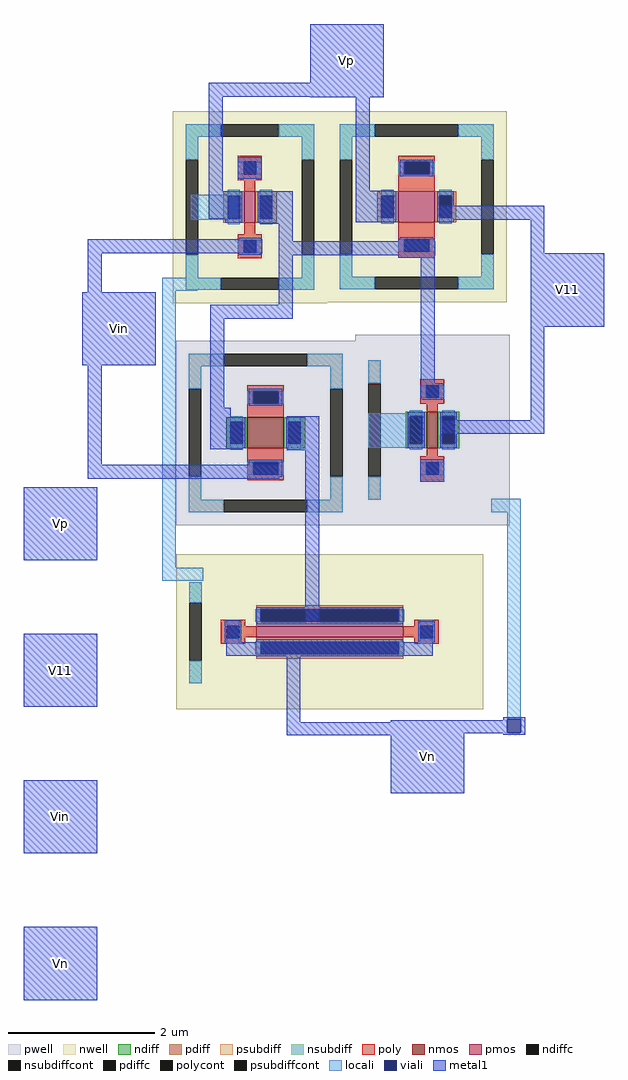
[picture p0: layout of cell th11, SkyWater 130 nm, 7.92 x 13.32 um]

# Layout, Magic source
magic
tech sky130A
magscale 1 2
<< locali >>
rect 456 930 592 998
rect 378 736 474 772
rect 378 -20 414 736
rect 940 308 1084 402
rect 1276 132 1356 168
rect 378 -56 490 -20
rect 1320 -434 1356 132
<< viali >>
rect 1320 -470 1356 -434
<< metal1 >>
rect 782 1304 982 1464
rect 505 1266 982 1304
rect 505 1007 543 1266
rect 782 1264 982 1266
rect 584 1042 650 1100
rect 906 1009 944 1264
rect 505 933 587 1007
rect 645 919 734 1007
rect 906 923 1009 1009
rect 1132 930 1421 968
rect 174 838 651 876
rect 696 871 734 919
rect 1022 871 1122 878
rect 174 732 212 838
rect 696 833 1123 871
rect 1383 838 1421 930
rect 160 532 360 732
rect 696 698 734 833
rect 1022 826 1122 833
rect 509 660 734 698
rect 174 261 212 532
rect 509 417 547 660
rect 1083 479 1121 826
rect 1383 638 1584 838
rect 1083 441 1147 479
rect 509 389 565 417
rect 509 303 597 389
rect 717 301 806 393
rect 1383 383 1421 638
rect 1143 345 1421 383
rect 174 223 697 261
rect 0 0 200 200
rect 0 -400 200 -200
rect 552 -224 588 -164
rect 768 -171 806 301
rect 1082 214 1148 276
rect 718 -224 754 -222
rect 1080 -224 1116 -166
rect 552 -260 1116 -224
rect 718 -442 754 -260
rect 1308 -434 1368 -428
rect 1308 -436 1320 -434
rect 1002 -442 1320 -436
rect 718 -470 1320 -442
rect 1356 -470 1368 -434
rect 718 -472 1368 -470
rect 718 -478 1202 -472
rect 1308 -476 1368 -472
rect 0 -800 200 -600
rect 1002 -636 1202 -478
rect 0 -1200 200 -1000
use sky130_fd_pr__pfet_01v8_XGAKDL  XM0
transform 0 -1 835 1 0 -195
box -211 -419 211 419
use sky130_fd_pr__nfet_01v8_ZFH27D  XM1
transform 1 0 660 0 1 348
box -246 -252 246 252
use sky130_fd_pr__pfet_01v8_E7ZT25  XM2
transform 1 0 617 0 1 964
box -211 -262 211 262
use sky130_fd_pr__pfet_01v8_JM8GTH  XM3
transform 1 0 1072 0 1 965
box -246 -261 246 261
use sky130_fd_pr__nfet_01v8_L9ESAD  XM4
transform 1 0 1115 0 1 356
box -211 -260 211 260
<< labels >>
flabel metal1 782 1264 982 1464 0 FreeSans 256 0 0 0 Vp
port 0 nsew
flabel metal1 1384 638 1584 838 0 FreeSans 256 0 0 0 V11
port 1 nsew
flabel metal1 160 532 360 732 0 FreeSans 256 0 0 0 Vin
port 2 nsew
flabel metal1 1002 -636 1202 -436 0 FreeSans 256 0 0 0 Vn
port 3 nsew
flabel metal1 0 0 200 200 0 FreeSans 256 0 0 0 Vp
flabel metal1 0 -400 200 -200 0 FreeSans 256 0 0 0 V11
flabel metal1 0 -800 200 -600 0 FreeSans 256 0 0 0 Vin
flabel metal1 0 -1200 200 -1000 0 FreeSans 256 0 0 0 Vn
<< end >>

# cell sky130_fd_pr__pfet_01v8_XGAKDL: kit device sky130_fd_pr__pfet_01v8, w 2.0 l 0.15 m 1 nf 1 diffcov 100 polycov 100 guard 1 glc 1 grc 1 gtc 1 gbc 1 tbcov 100 rlcov 100 topc 1 botc 1 poverlap 0 doverlap 1 lmin 0.15 wmin 0.42 compatible {sky130_fd_pr__pfet_01v8 sky130_fd_pr__pfet_01v8_lvt sky130_fd_pr__pfet_01v8_hvt sky130_fd_pr__pfet_g5v0d10v5} full_metal 1 viasrc 100 viadrn 100 viagate 100 viagb 0 viagr 0 viagl 0 viagt 0

# cell sky130_fd_pr__nfet_01v8_ZFH27D: kit device sky130_fd_pr__nfet_01v8, w 0.42 l 0.5 m 1 nf 1 diffcov 100 polycov 100 guard 1 glc 1 grc 1 gtc 1 gbc 1 tbcov 100 rlcov 100 topc 1 botc 1 poverlap 0 doverlap 1 lmin 0.15 wmin 0.42 compatible {sky130_fd_pr__nfet_01v8 sky130_fd_pr__nfet_01v8_lvt sky130_fd_bs_flash__special_sonosfet_star sky130_fd_pr__nfet_g5v0d10v5 sky130_fd_pr__nfet_05v0_nvt sky130_fd_pr__nfet_03v3_nvt} full_metal 1 viasrc 100 viadrn 100 viagate 100 viagb 0 viagr 0 viagl 0 viagt 0

# cell sky130_fd_pr__pfet_01v8_E7ZT25: kit device sky130_fd_pr__pfet_01v8, w 0.425 l 0.15 m 1 nf 1 diffcov 100 polycov 100 guard 1 glc 1 grc 1 gtc 1 gbc 1 tbcov 100 rlcov 100 topc 1 botc 1 poverlap 0 doverlap 1 lmin 0.15 wmin 0.42 compatible {sky130_fd_pr__pfet_01v8 sky130_fd_pr__pfet_01v8_lvt sky130_fd_pr__pfet_01v8_hvt sky130_fd_pr__pfet_g5v0d10v5} full_metal 1 viasrc 100 viadrn 100 viagate 100 viagb 0 viagr 0 viagl 0 viagt 0

# cell sky130_fd_pr__pfet_01v8_JM8GTH: kit device sky130_fd_pr__pfet_01v8, w 0.42 l 0.5 m 1 nf 1 diffcov 100 polycov 100 guard 1 glc 1 grc 1 gtc 1 gbc 1 tbcov 100 rlcov 100 topc 1 botc 1 poverlap 0 doverlap 1 lmin 0.15 wmin 0.42 compatible {sky130_fd_pr__pfet_01v8 sky130_fd_pr__pfet_01v8_lvt sky130_fd_pr__pfet_01v8_hvt sky130_fd_pr__pfet_g5v0d10v5} full_metal 1 viasrc 100 viadrn 100 viagate 100 viagb 0 viagr 0 viagl 0 viagt 0

# cell sky130_fd_pr__nfet_01v8_L9ESAD: kit device sky130_fd_pr__nfet_01v8, w 0.5 l 0.15 m 1 nf 1 diffcov 100 polycov 100 guard 1 glc 1 grc 1 gtc 1 gbc 1 tbcov 100 rlcov 100 topc 1 botc 1 poverlap 0 doverlap 1 lmin 0.15 wmin 0.42 compatible {sky130_fd_pr__nfet_01v8 sky130_fd_pr__nfet_01v8_lvt sky130_fd_bs_flash__special_sonosfet_star sky130_fd_pr__nfet_g5v0d10v5 sky130_fd_pr__nfet_05v0_nvt sky130_fd_pr__nfet_03v3_nvt} full_metal 1 viasrc 100 viadrn 100 viagate 100 viagb 0 viagr 0 viagl 0 viagt 0
